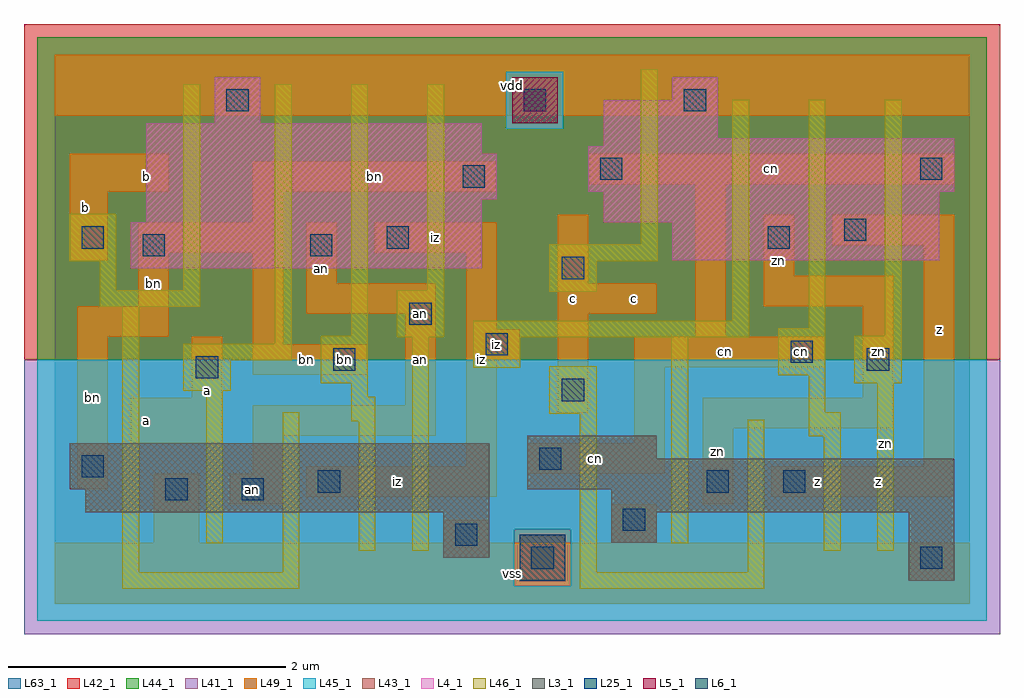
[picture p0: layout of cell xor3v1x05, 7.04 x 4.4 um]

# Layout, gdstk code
import gdstk
lib = gdstk.Library(unit=1e-6, precision=1e-09)
def R(c, l, rs):  # rectangles x0, y0, x1, y1
    for r in rs: c.add(gdstk.rectangle(r[:2], r[2:], *l))
L3_1 = (3, 1)
L4_1 = (4, 1)
L5_1 = (5, 1)
L6_1 = (6, 1)
L25_1 = (25, 1)
L41_1 = (41, 1)
L42_1 = (42, 1)
L43_1 = (43, 1)
L44_1 = (44, 1)
L45_1 = (45, 1)
L46_1 = (46, 1)
L49_1 = (49, 1)
L63_1 = (63, 1)

xor3v1x05 = lib.new_cell('xor3v1x05')
R(xor3v1x05, L3_1, [(6.16,0.165,6.49,0.66), (2.805,0.33,3.135,0.66), (4.015,0.44,4.345,0.66), (0.22,0.66,3.135,0.825), (4.015,0.66,6.49,0.825), (0.11,0.825,3.135,1.155), (3.41,0.825,6.49,1.045), (3.41,1.045,4.345,1.21)])
R(xor3v1x05, L4_1, [(0.55,2.42,3.08,2.75), (4.455,2.475,6.38,2.75), (0.66,2.75,3.08,2.915), (3.96,2.75,6.38,2.97), (0.66,2.915,3.19,3.245), (3.85,2.97,6.49,3.3), (0.66,3.245,3.08,3.465), (3.96,3.3,6.49,3.355), (3.96,3.355,4.785,3.63), (1.155,3.465,1.485,3.795), (4.455,3.63,4.785,3.795)])
R(xor3v1x05, L5_1, [(3.3,3.465,3.63,3.795)])
R(xor3v1x05, L6_1, [(3.355,0.165,3.685,0.495)])
R(xor3v1x05, L25_1, [(3.44,0.25,3.6,0.41), (6.245,0.25,6.405,0.41), (2.89,0.415,3.05,0.575), (4.1,0.525,4.26,0.685), (0.8,0.745,0.96,0.905), (1.35,0.745,1.51,0.905), (1.9,0.8,2.06,0.96), (4.705,0.8,4.865,0.96), (5.255,0.8,5.415,0.96), (0.195,0.91,0.355,1.07), (3.495,0.965,3.655,1.125), (3.66,1.46,3.82,1.62), (1.02,1.625,1.18,1.785), (2.01,1.68,2.17,1.84), (5.86,1.68,6.02,1.84), (5.31,1.735,5.47,1.895), (3.11,1.79,3.27,1.95), (2.56,2.01,2.72,2.17), (3.66,2.34,3.82,2.5), (0.635,2.505,0.795,2.665), (1.845,2.505,2.005,2.665), (0.195,2.56,0.355,2.72), (2.395,2.56,2.555,2.72), (5.145,2.56,5.305,2.72), (5.695,2.615,5.855,2.775), (2.945,3,3.105,3.16), (3.935,3.055,4.095,3.215), (6.245,3.055,6.405,3.215), (1.24,3.55,1.4,3.71), (3.385,3.55,3.545,3.71), (4.54,3.55,4.7,3.71)])
R(xor3v1x05, L41_1, [(-0.22,-0.22,6.82,1.76)])
R(xor3v1x05, L42_1, [(-0.22,1.76,6.82,4.18)])
R(xor3v1x05, L43_1, [(3.355,0.165,3.685,0.495), (6.16,0.165,6.49,0.66), (2.805,0.33,3.135,0.66), (4.015,0.44,4.345,0.66), (0.22,0.66,3.135,0.825), (4.015,0.66,6.49,0.825), (0.11,0.825,3.135,1.155), (3.41,0.825,6.49,1.045), (3.41,1.045,4.345,1.21), (0.55,2.42,3.08,2.75), (4.455,2.475,6.38,2.75), (0.66,2.75,3.08,2.915), (3.96,2.75,6.38,2.97), (0.66,2.915,3.19,3.245), (3.85,2.97,6.49,3.3), (0.66,3.245,3.08,3.465), (3.96,3.3,6.49,3.355), (3.96,3.355,4.785,3.63), (1.155,3.465,1.485,3.795), (3.3,3.465,3.63,3.795), (4.455,3.63,4.785,3.795)])
R(xor3v1x05, L44_1, [(3.315,0.125,3.725,0.535), (-0.125,1.76,6.725,3.425), (-0.125,3.425,3.26,3.835), (3.67,3.425,6.725,3.835), (-0.125,3.835,6.725,4.085)])
R(xor3v1x05, L45_1, [(-0.125,-0.125,6.725,0.125), (-0.125,0.125,3.315,0.535), (3.725,0.125,6.725,0.535), (-0.125,0.535,6.725,1.76), (3.26,3.425,3.67,3.835)])
R(xor3v1x05, L46_1, [(0.49,0.105,1.765,0.225), (3.79,0.105,5.12,0.225), (0.49,0.225,0.61,2.14), (1.645,0.225,1.765,1.38), (3.79,0.225,3.91,1.37), (5,0.225,5.12,1.325), (2.195,0.38,2.315,1.315), (2.58,0.38,2.7,1.92), (5.55,0.38,5.67,1.205), (5.935,0.38,6.055,1.59), (1.095,0.435,1.215,1.535), (4.45,0.435,4.57,1.92), (5.44,1.205,5.67,1.38), (2.14,1.315,2.315,1.49), (3.57,1.37,3.91,1.71), (5.44,1.38,5.56,1.645), (2.14,1.49,2.26,1.59), (0.93,1.535,1.27,1.755), (1.92,1.59,2.26,1.93), (5.77,1.59,6.11,1.93), (5.22,1.645,5.56,1.985), (3.02,1.7,3.36,1.92), (0.93,1.755,1.71,1.875), (1.59,1.875,1.71,3.745), (2.47,1.92,2.81,2.26), (3.02,1.92,5.01,2.04), (2.14,1.93,2.26,3.745), (5.99,1.93,6.11,3.635), (5.44,1.985,5.56,3.635), (4.89,2.04,5.01,3.635), (0.325,2.14,1.05,2.26), (3.57,2.25,3.91,2.47), (0.325,2.26,0.445,2.47), (0.93,2.26,1.05,3.745), (2.69,2.26,2.81,3.745), (0.105,2.47,0.445,2.81), (3.57,2.47,4.35,2.59), (4.23,2.59,4.35,3.855)])
R(xor3v1x05, L49_1, [(0,0,6.6,0.44), (0.715,0.44,1.045,0.935), (2.805,0.44,3.135,0.605), (4.015,0.44,4.345,0.715), (1.265,0.715,1.65,0.935), (4.675,0.715,4.895,1.265), (1.815,0.77,3.19,0.99), (5.17,0.77,6.49,0.99), (0.165,0.825,0.385,1.925), (1.43,0.935,1.65,1.21), (3.41,0.935,4.4,1.155), (2.97,0.99,3.19,1.76), (6.27,0.99,6.49,2.585), (0.55,1.155,1.21,1.485), (4.18,1.155,4.4,1.705), (1.43,1.21,2.75,1.43), (4.675,1.265,6.05,1.485), (3.63,1.375,3.85,2.09), (2.53,1.43,2.75,2.09), (0.99,1.485,1.21,1.925), (5.83,1.485,6.05,2.145), (1.43,1.65,2.255,1.87), (4.18,1.705,5.555,1.925), (2.97,1.76,3.355,1.98), (1.43,1.87,1.65,2.53), (0.165,1.925,0.825,2.145), (4.62,1.925,4.84,3.025), (2.97,1.98,3.19,2.53), (1.815,2.09,2.75,2.31), (3.63,2.09,4.345,2.31), (0.605,2.145,0.825,2.53), (5.115,2.145,6.05,2.365), (1.815,2.31,2.035,2.75), (3.63,2.31,3.85,2.805), (5.115,2.365,5.335,2.805), (0.11,2.475,0.385,2.97), (0.605,2.53,1.65,2.75), (2.31,2.53,3.19,2.75), (5.61,2.585,6.49,2.805), (1.43,2.75,1.65,2.97), (0.11,2.97,0.825,3.245), (1.43,2.97,3.19,3.19), (3.85,3.025,6.49,3.245), (0,3.52,6.6,3.96)])
R(xor3v1x05, L63_1, [(0,0,6.6,3.96)])
xor3v1x05.add(gdstk.Label('bn', (2.09,1.76), layer=49, texttype=1))
xor3v1x05.add(gdstk.Label('an', (2.64,2.09), layer=49, texttype=1))
xor3v1x05.add(gdstk.Label('iz', (3.19,1.87), layer=49, texttype=1))
xor3v1x05.add(gdstk.Label('zn', (5.995,1.155), layer=46, texttype=1))
xor3v1x05.add(gdstk.Label('cn', (5.39,1.815), layer=49, texttype=1))
xor3v1x05.add(gdstk.Label('a', (0.66,1.32), layer=49, texttype=1))
xor3v1x05.add(gdstk.Label('bn', (0.275,1.485), layer=49, texttype=1))
xor3v1x05.add(gdstk.Label('bn', (0.715,2.31), layer=49, texttype=1))
xor3v1x05.add(gdstk.Label('b', (0.22,2.86), layer=49, texttype=1))
xor3v1x05.add(gdstk.Label('b', (0.66,3.08), layer=49, texttype=1))
xor3v1x05.add(gdstk.Label('an', (1.43,0.825), layer=49, texttype=1))
xor3v1x05.add(gdstk.Label('bn', (1.815,1.76), layer=49, texttype=1))
xor3v1x05.add(gdstk.Label('a', (1.1,1.54), layer=49, texttype=1))
xor3v1x05.add(gdstk.Label('an', (1.925,2.42), layer=49, texttype=1))
xor3v1x05.add(gdstk.Label('vss', (3.3,0.22), layer=49, texttype=1))
xor3v1x05.add(gdstk.Label('iz', (2.475,0.88), layer=49, texttype=1))
xor3v1x05.add(gdstk.Label('an', (2.64,1.76), layer=49, texttype=1))
xor3v1x05.add(gdstk.Label('c', (3.74,2.2), layer=49, texttype=1))
xor3v1x05.add(gdstk.Label('iz', (3.08,1.76), layer=49, texttype=1))
xor3v1x05.add(gdstk.Label('iz', (2.75,2.64), layer=49, texttype=1))
xor3v1x05.add(gdstk.Label('bn', (2.31,3.08), layer=49, texttype=1))
xor3v1x05.add(gdstk.Label('vdd', (3.3,3.74), layer=49, texttype=1))
xor3v1x05.add(gdstk.Label('zn', (4.785,1.1), layer=49, texttype=1))
xor3v1x05.add(gdstk.Label('cn', (3.905,1.045), layer=49, texttype=1))
xor3v1x05.add(gdstk.Label('c', (4.18,2.2), layer=49, texttype=1))
xor3v1x05.add(gdstk.Label('z', (5.94,0.88), layer=49, texttype=1))
xor3v1x05.add(gdstk.Label('z', (5.5,0.88), layer=49, texttype=1))
xor3v1x05.add(gdstk.Label('cn', (4.84,1.815), layer=49, texttype=1))
xor3v1x05.add(gdstk.Label('z', (6.38,1.98), layer=49, texttype=1))
xor3v1x05.add(gdstk.Label('zn', (5.225,2.475), layer=49, texttype=1))
xor3v1x05.add(gdstk.Label('zn', (5.94,1.815), layer=49, texttype=1))
xor3v1x05.add(gdstk.Label('cn', (5.17,3.135), layer=49, texttype=1))

lib.write_gds('xor3v1x05.gds')
